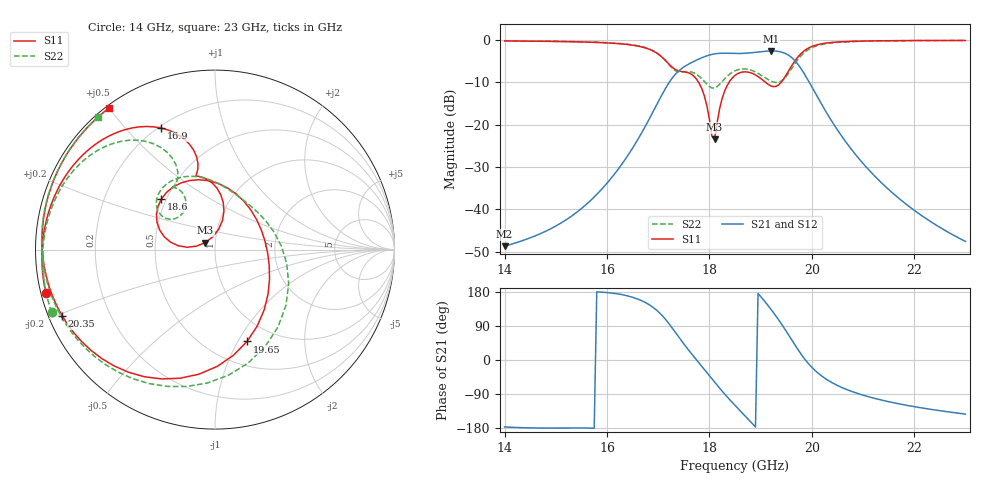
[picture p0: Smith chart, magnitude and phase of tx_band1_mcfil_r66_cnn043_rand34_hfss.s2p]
! Touchstone file exported from HFSS 3D Layout Design 2026.1.0
!  File:  D:/Work/SIM/ADS_AUTO_SIM/projects/RFSOC_RF/TX_Fillter.aedt
!  Generated:  07:00:54 AM Aug 31, 2026
!  Design:  TX_BAND1_MCFIL_R66_CNN043
!  Project:  TX_Fillter
# GHz S MA R 50.000000
! Terminal data exported
! Port[1] = Port1
! Port[2] = Port2
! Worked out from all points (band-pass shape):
!   181 points, 14 GHz to 23 GHz, reference 50 ohm
!   highest |S21| = -2.61 dB at 19.2 GHz (marker M1); lowest = -48.7 dB at 14 GHz (marker M2)
!   |S21| within 3 dB of the highest: 17.61 GHz to 19.72 GHz (2.107 GHz wide, 11.3 % of centre)
!   lowest |S11| = -23.5 dB at 18.1 GHz (marker M3), VSWR 1.14, Z = 44.7 + j3.52 ohm
!   |S11| at or under -10 dB: 17.79 GHz to 18.38 GHz (597 MHz wide, 3.3 % of centre); 19.09 GHz to 19.4 GHz (309.8 MHz wide, 1.61 % of centre)
!   |S22| runs from -11.4 to -0.1 dB; largest |S21 - S12| = 1.3e-14
!   S11 on the Smith chart (normalised r, x): 14 GHz: 0.01, -0.13; 16.9 GHz: 0.21, +0.63; 18.6 GHz: 0.47, +0.32; 19.65 GHz: 0.75, -1.09; 20.35 GHz: 0.04, -0.21; 23 GHz: 0.01, +0.50
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14  0.973 -165.6  0.003657 -176.6  0.003657 -176.6  0.9748 -159.0
15.5  0.9458 164.1  0.01017 -179.2  0.01017 -179.2  0.9497 172.2
16.3  0.8954 141.0  0.0347 172.3  0.0347 172.3  0.9021 150.6
16.9  0.74 113.8  0.1419 138.9  0.1419 138.9  0.7467 125.3
17  0.68 108.4  0.1856 127.7  0.1856 127.7  0.6842 120.3
17.2  0.5257 101.2  0.3052 97.8  0.3052 97.8  0.5187 114.7
17.45  0.4243 104.3  0.4552 51.6  0.4552 51.6  0.4173 124.9
17.8  0.3079 84.0  0.5968 -8.1  0.5968 -8.1  0.3723 120.0
18.1  0.06681 144.2  0.6838 -58.0  0.6838 -58.0  0.2705 137.0
18.25  0.2044 174.1  0.6962 -82.3  0.6962 -82.3  0.3228 147.5
18.5  0.3807 148.9  0.6914 -119.7  0.6914 -119.7  0.4315 138.7
18.6  0.4108 136.7  0.6913 -133.8  0.6913 -133.8  0.4507 131.1
18.95  0.3689 87.2  0.7201 175.6  0.7201 175.6  0.4034 98.5
19.2  0.2859 35.9  0.7406 134.3  0.7406 134.3  0.3269 68.3
19.45  0.3458 -28.5  0.7046 86.5  0.7046 86.5  0.3432 16.4
19.65  0.5419 -70.7  0.5855 44.2  0.5855 44.2  0.5026 -38.1
19.85  0.7425 -105.1  0.4012 4.5  0.4012 4.5  0.7043 -84.0
20  0.8363 -125.2  0.2792 -19.2  0.2792 -19.2  0.8076 -109.3
20.35  0.9279 -156.5  0.1198 -56.3  0.1198 -56.3  0.9156 -146.7
20.8  0.962 180.0  0.04864 -84.0  0.04864 -84.0  0.9575 -173.1
21.5  0.9781 157.3  0.01711 -110.0  0.01711 -110.0  0.9769 162.7
23  0.9852 126.8  0.004164 -142.8  0.004164 -142.8  0.9851 131.3
